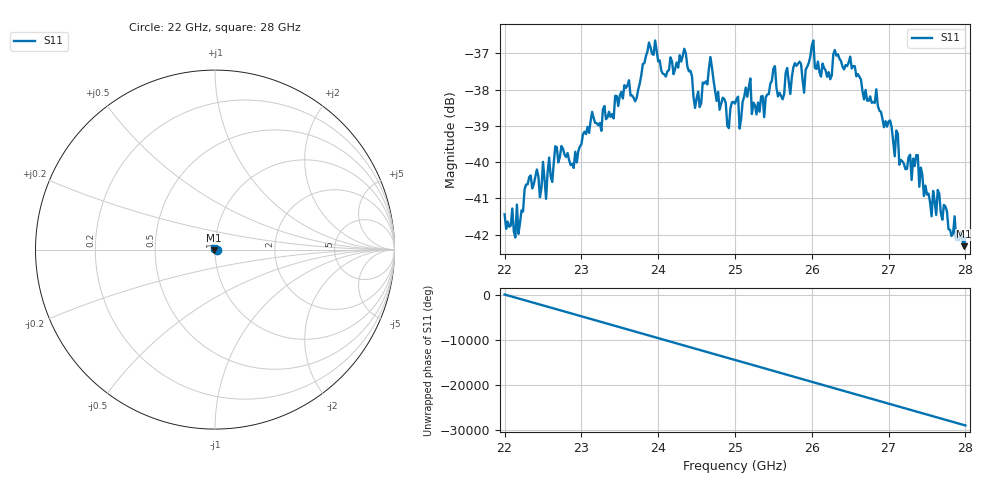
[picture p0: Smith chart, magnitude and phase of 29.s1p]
#  HZ  S  RI  R  50.00
! Rohde & Schwarz ZVA40 4Ports - Version 3.90 - 1145.1110k42 SN: 100403
! Date: 2023-10-04 08:40:39
! Measurement: S12
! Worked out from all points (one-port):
!   301 points, 22 GHz to 28 GHz, reference 50 ohm
!   lowest |S11| = -42.3 dB at 27.98 GHz (marker M1), VSWR 1.02, Z = 49.3 - j0.395 ohm
!   |S11| at or under -10 dB: start of sweep to end of sweep
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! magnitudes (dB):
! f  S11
! 22 GHz  -41.4
! 22.14 GHz  -42.1
! 22.32 GHz  -40.4
! 22.46 GHz  -41.0
! 22.5 GHz  -40.0
! 22.54 GHz  -41.0
! 22.58 GHz  -39.9
! 22.76 GHz  -39.6
! 23.5 GHz  -38.2
! 23.7 GHz  -38.3
! 23.88 GHz  -36.7
! 24.26 GHz  -37.4
! 24.34 GHz  -36.9
! 24.54 GHz  -38.5
! 24.68 GHz  -37.1
! 24.9 GHz  -39.0
! 25 GHz  -38.4
! 25.06 GHz  -39.1
! 25.2 GHz  -37.7
! 25.22 GHz  -38.7
! 25.38 GHz  -38.8
! 25.5 GHz  -37.4
! 25.62 GHz  -38.3
! 25.76 GHz  -37.4
! 26.5 GHz  -37.1
! 27.26 GHz  -39.9
! 27.98 GHz  -42.3
! 28 GHz  -42.1
